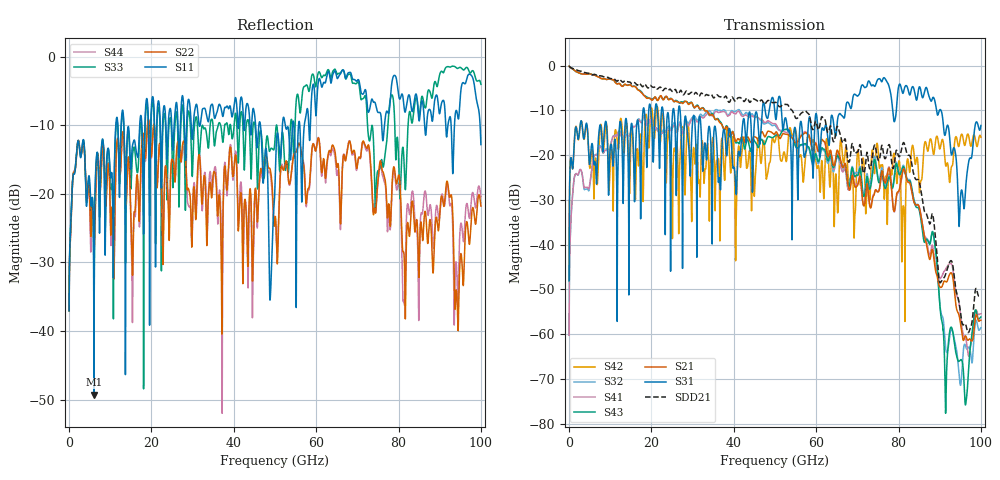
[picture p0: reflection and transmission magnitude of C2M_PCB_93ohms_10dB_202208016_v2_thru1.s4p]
! Info: Touchstone file created by Circ.  Input file=Intel_C2M_200G_1p5in_202208016_staggered.circ
# Hz S RI R 50
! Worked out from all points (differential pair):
!   10000 points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, 10 MHz to 100 GHz, reference 50 ohm
!   strongest paths, dB at 10 MHz, 25.01 GHz, 50.01 GHz, 75.01 GHz, 100 GHz:
!     S31: -48.1, -12.4, -10.7, -3.0, -13.4
!     S21: -0.1, -7.5, -15.1, -28.2, -56.9
!     S43: -0.1, -7.5, -15.7, -25.4, -56.2
!     S41: -60.2, -14.2, -12.9, -28.1, -55.5
!     S32: -60.2, -14.1, -13.3, -24.9, -58.6
!     S42: -48.1, -29.5, -17.0, -18.6, -16.0
!   taken as a pair (ports 1,3 in; 2,4 out), SDD21 dB: -0.1, -5.7, -8.2, -21.0, -51.2
!   lowest |S11| = -49.3 dB at 6.04 GHz (marker M1), VSWR 1.01, Z = 50.2 + j0.303 ohm
!   |S11| at or under -10 dB: start of sweep to 11.35 GHz; 13.3 GHz to 17.15 GHz (3.848 GHz wide, 25.3 % of centre); 46.48 GHz to 51.81 GHz (5.332 GHz wide, 10.8 % of centre)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
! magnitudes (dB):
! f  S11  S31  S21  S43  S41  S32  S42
! 10 MHz  -37.1  -48.1  -0.1  -0.1  -60.2  -60.2  -48.1
! 6.04 GHz  -49.3  -22.0  -2.0  -2.0  -20.4  -20.3  -29.8
! 48.98 GHz  -33.8  -8.1  -14.8  -16.0  -12.6  -13.1  -20.1
! 71.54 GHz  -5.4  -4.6  -31.3  -29.2  -31.2  -28.7  -21.2
! 81.17 GHz  -6.4  -6.0  -23.1  -22.5  -23.3  -22.2  -31.3
! 91.5 GHz  -10.5  -14.8  -48.3  -75.2  -45.4  -63.5  -22.5
! 100 GHz  -12.8  -13.4  -56.9  -56.2  -55.5  -58.6  -16.0
